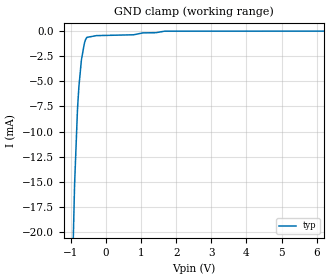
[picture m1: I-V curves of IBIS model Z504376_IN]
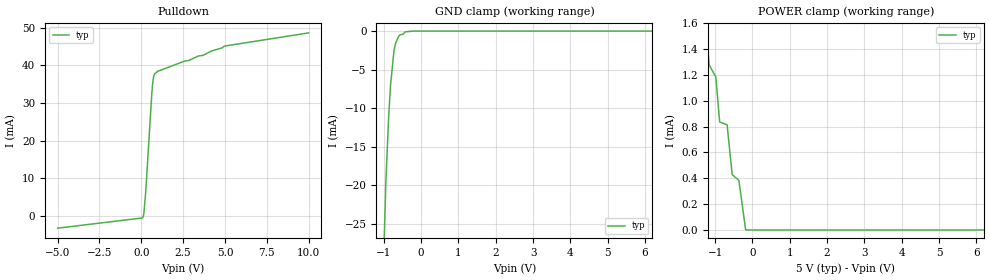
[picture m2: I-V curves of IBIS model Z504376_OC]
| YOU ARE ONLY AUTHORIZED TO USE THIS SOFTWARE
| ACCORDING TO LICENSOR'S LICENSE RESTRICTIONS.
[IBIS Ver] 3.1
[File Name] sn54ls136j.ibs
[File Rev] 2.0
[Source] Measured and created by ICX Technology
[Date] Friday 7/14/00 9:08:13 AM
[Copyright]
| (C) COPYRIGHT 1993-2000
| MENTOR GRAPHICS CORPORATION
| ICX STANDARD LIBRARY, ICX PROJECT MODELING,
| ICX CUSTOM MODELING, ICX VENDOR MODEL
| ALL RIGHTS RESERVED.
| THE FOLLOWING ARE TRADEMARKS OR SERVICE MARKS OF
| MENTOR GRAPHICS CORPORATION:ICX (R), ICX STANDARD
| LIBRARY(R), ICX PROJECT MODELING(R), ICX CUSTOM
| MODELING(R), qualityIBIS(TM), MODELVIEWER(TM),
| AND MODELEDITOR(TM)
| ALL COPIES OF SOFTWARE, INCLUDING BUT NOT LIMITED TO
| ANY MODIFICATIONS, ENHANCEMENTS OR DERIVATIVE WORKS,
| MUST CONTAIN ALL MENTOR GRAPHICS CORPORATION'S
| NOTICES AND LEGENDS, INCLUDING THOSE EMBEDDED IN
| SOFTWARE AND THOSE AFFIXED TO SOFTWARE MEDIUM
| AND CONTAINER, AS RECEIVED FROM MENTOR GRAPHICS
| CORPORATION.
|  ZAP Model Builder 2.7
[Component] SN54LS136J
[Manufacturer] OnSemiconductor
[Package]
| variable   typ   min   max
R_pkg  .21ohms NA NA
L_pkg  4.543nH NA NA
C_pkg  1.8pF NA NA
[Pin] signal_name  model_name  R_pin  L_pin C_pin
1 A Z504376_IN .22 6.757n 2.434p
2 B Z504376_IN .212 4.757n 1.941p
3 Y Z504376_OC .204 3.257n 1.448p
4 A Z504376_IN .196 2.257n .955p
5 B Z504376_IN .204 3.257n 1.448p
6 Y Z504376_OC .212 4.757n 1.941p
7 GND GND .22 6.757n 2.434p
8 Y Z504376_OC .22 6.757n 2.434p
9 A Z504376_IN .212 4.757n 1.941p
10 B Z504376_IN .204 3.257n 1.448p
11 Y Z504376_OC .196 2.257n .955p
12 A Z504376_IN .204 3.257n 1.448p
13 B Z504376_IN .212 4.757n 1.941p
14 VCC POWER .22 6.757n 2.434p
| Models and submodels in the file (2): Z504376_IN (Input), Z504376_OC (Open_sink)
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| (C) COPYRIGHT 1993-2000
| MENTOR GRAPHICS CORPORATION
| ICX STANDARD LIBRARY, ICX PROJECT MODELING,
| ICX CUSTOM MODELING, ICX VENDOR MODEL
| ALL RIGHTS RESERVED.
| THE FOLLOWING ARE TRADEMARKS OR SERVICE MARKS OF
| MENTOR GRAPHICS CORPORATION:ICX (R), ICX STANDARD
| LIBRARY(R), ICX PROJECT MODELING(R), ICX CUSTOM
| MODELING(R), qualityIBIS(TM), MODELVIEWER(TM),
| AND MODELEDITOR(TM)
| ALL COPIES OF SOFTWARE, INCLUDING BUT NOT LIMITED TO
| ANY MODIFICATIONS, ENHANCEMENTS OR DERIVATIVE WORKS,
| MUST CONTAIN ALL MENTOR GRAPHICS CORPORATION'S
| NOTICES AND LEGENDS, INCLUDING THOSE EMBEDDED IN
| SOFTWARE AND THOSE AFFIXED TO SOFTWARE MEDIUM
| AND CONTAINER, AS RECEIVED FROM MENTOR GRAPHICS
| CORPORATION.
| Model Application Version 1.89 2/18/99.
[Model] Z504376_IN
Model_type Input
Vinl = 800.0mV
Vinh = 2.000V
C_comp 4.000pF NA NA
| variable typ   min   max
[Voltage Range] 5.000V NA NA
[GND Clamp Reference] 0.000V NA NA
[POWER Clamp Reference] 5.000V NA NA
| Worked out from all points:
|   GND clamp passes 1 mA (typ) near -0.60 V on its own axis
[GND Clamp]
-5V       -615.5mA   NA         NA
-893.4mV  -15.22mA   NA         NA
-809.9mV  -7.688mA   NA         NA
-771.5mV  -5.567mA   NA         NA
-700.3mV  -2.898mA   NA         NA
-615.2mV  -1.221mA   NA         NA
-581.1mV  -843.7uA   NA         NA
-543.6mV  -622.5uA   NA         NA
-271.8mV  -449.5uA   NA         NA
791mV     -366uA     NA         NA
1.665V    -7.615uA   NA         NA
10V       1.515uA    NA         NA
[POWER Clamp]
-5V       0A         NA         NA
10V       0A         NA         NA
| (C) COPYRIGHT 1993-2000
| MENTOR GRAPHICS CORPORATION
| ICX STANDARD LIBRARY, ICX PROJECT MODELING,
| ICX CUSTOM MODELING, ICX VENDOR MODEL
| ALL RIGHTS RESERVED.
| THE FOLLOWING ARE TRADEMARKS OR SERVICE MARKS OF
| MENTOR GRAPHICS CORPORATION:ICX (R), ICX STANDARD
| LIBRARY(R), ICX PROJECT MODELING(R), ICX CUSTOM
| MODELING(R), qualityIBIS(TM), MODELVIEWER(TM),
| AND MODELEDITOR(TM)
| ALL COPIES OF SOFTWARE, INCLUDING BUT NOT LIMITED TO
| ANY MODIFICATIONS, ENHANCEMENTS OR DERIVATIVE WORKS,
| MUST CONTAIN ALL MENTOR GRAPHICS CORPORATION'S
| NOTICES AND LEGENDS, INCLUDING THOSE EMBEDDED IN
| SOFTWARE AND THOSE AFFIXED TO SOFTWARE MEDIUM
| AND CONTAINER, AS RECEIVED FROM MENTOR GRAPHICS
| CORPORATION.
| Model Application Version 1.89 2/18/99.
[Model] Z504376_OC
Model_type Open_sink
Vref=5.000V
Rref=2.001kohms
Cref=15.00pF
Vmeas=1.300V
C_comp 8.000pF NA NA
| variable typ   min   max
[Voltage Range] 5.000V NA NA
[POWER Clamp Reference] 5.000V NA NA
[Pullup Reference] 5.000V NA NA
[Pulldown Reference] 0.000V NA NA
[GND Clamp Reference] 0.000V NA NA
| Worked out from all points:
|   slope of the pulldown table from 0 to 0.75 V, typ, clamps not added: 19.9 ohm
|   GND clamp passes 1 mA (typ) near -0.63 V on its own axis
|   POWER clamp passes 1 mA (typ) near -0.93 V on its own axis
[GND Clamp]
-5V       -957mA     NA         NA
-1.099V   -45.31mA   NA         NA
-946.8mV  -19.84mA   NA         NA
-873.7mV  -11.4mA    NA         NA
-819.9mV  -6.983mA   NA         NA
-726.9mV  -2.521mA   NA         NA
-683.6mV  -1.587mA   NA         NA
-606mV    -706.2uA   NA         NA
-566.9mV  -487.1uA   NA         NA
-484.8mV  -403uA     NA         NA
-428.6mV  -101.1uA   NA         NA
10V       0A         NA         NA
[Pulldown]
-5V       -3.201mA   NA         NA
68.4mV    -488.9uA   NA         NA
151.4mV   579.7uA    NA         NA
261.6mV   6.191mA    NA         NA
631.1mV   32.65mA    NA         NA
687.4mV   35.49mA    NA         NA
747.1mV   37.22mA    NA         NA
805.7mV   37.83mA    NA         NA
966.8mV   38.39mA    NA         NA
3.691V    42.66mA    NA         NA
4.965V    45.11mA    NA         NA
10V       48.61mA    NA         NA
[POWER Clamp]
-5V       15.79mA    NA         NA
-1.161V   1.279mA    NA         NA
-981mV    1.184mA    NA         NA
-878mV    835.5uA    NA         NA
-679mV    813.8uA    NA         NA
-543mV    428.3uA    NA         NA
-363mV    383.4uA    NA         NA
-181.5mV  0A         NA         NA
10V       0A         NA         NA
[Ramp]
| variable typ min max
dV/dt_r 2.742/15.25n NA NA
dV/dt_f 2.742/5.794n NA NA
R_load = 250.0Ohms
